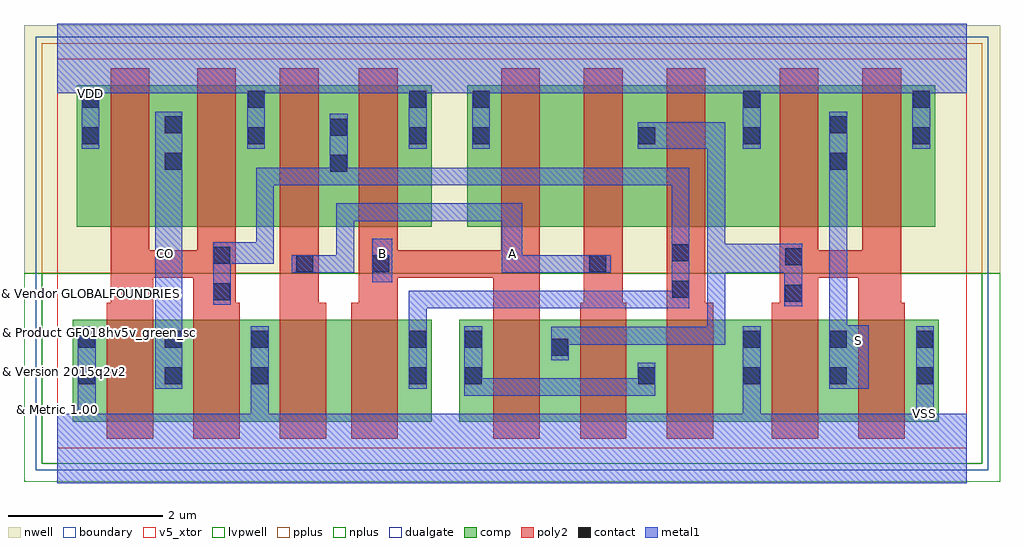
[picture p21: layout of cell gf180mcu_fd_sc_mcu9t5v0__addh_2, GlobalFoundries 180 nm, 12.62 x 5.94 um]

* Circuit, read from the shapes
.subckt gf180mcu_fd_sc_mcu9t5v0__addh_2 A B CO S VDD VSS
XM1 CO n1 VSS VSUBS nfet_05v0 w=1.32u l=0.6u m=2
XM2 n2 A VSS VSUBS nfet_05v0 w=1.32u l=0.6u
XM3 n1 B n2 VSUBS nfet_05v0 w=1.32u l=0.6u
XM4 n3 B n4 VSUBS nfet_05v0 w=1.32u l=0.6u
XM5 n4 A n3 VSUBS nfet_05v0 w=1.32u l=0.6u
XM6 VSS n1 n4 VSUBS nfet_05v0 w=1.32u l=0.6u
XM7 S n3 VSS VSUBS nfet_05v0 w=1.32u l=0.6u m=2
XM8 CO n1 VDD n5 pfet_05v0 w=1.83u l=0.5u m=2
XM9 n1 A VDD n5 pfet_05v0 w=1.83u l=0.5u
XM10 VDD B n1 n5 pfet_05v0 w=1.83u l=0.5u
XM11 n6 B VDD n5 pfet_05v0 w=1.83u l=0.5u
XM12 n3 A n6 n5 pfet_05v0 w=1.83u l=0.5u
XM13 VDD n1 n3 n5 pfet_05v0 w=1.83u l=0.5u
XM14 S n3 VDD n5 pfet_05v0 w=1.83u l=0.5u m=2
.ends

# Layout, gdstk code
import gdstk
lib = gdstk.Library(unit=1e-6, precision=1e-09)
def R(c, l, rs):  # rectangles x0, y0, x1, y1
    for r in rs: c.add(gdstk.rectangle(r[:2], r[2:], *l))
def A(c, l, x, y, w, h, nx, ny, dx, dy):  # array of equal rectangles
    R(c, l, [(x+i*dx, y+j*dy, x+i*dx+w, y+j*dy+h) for i in range(nx) for j in range(ny)])
def P(c, l, *ps):  # polygons
    for p in ps: c.add(gdstk.Polygon(p, *l))
boundary = (0, 0)
nwell = (21, 0)
comp = (22, 0)
poly2 = (30, 0)
pplus = (31, 0)
nplus = (32, 0)
contact = (33, 0)
metal1 = (34, 0)
dualgate = (55, 0)
v5_xtor = (112, 1)
lvpwell = (204, 0)

gf180mcu_fd_sc_mcu9t5v0_ = lib.new_cell('gf180mcu_fd_sc_mcu9t5v0__addh_2')
R(gf180mcu_fd_sc_mcu9t5v0_, boundary, [(0,0,11.76,5.04)])
R(gf180mcu_fd_sc_mcu9t5v0_, nwell, [(-0.43,2.265,12.19,5.47)])
R(gf180mcu_fd_sc_mcu9t5v0_, comp, [(0.2,0.345,4.84,1.665), (5.2,0.345,11.4,1.665), (0.25,2.865,4.84,4.695), (5.3,2.865,11.35,4.695)])
P(gf180mcu_fd_sc_mcu9t5v0_, poly2, [(0.64,0.125),(0.64,1.885),(0.69,1.885),(0.69,4.915),(1.19,4.915),(1.19,2.565),(1.81,2.565),(1.81,4.915),(2.31,4.915),(2.31,1.885),(2.36,1.885),(2.36,0.125),(1.76,0.125),(1.76,2.205),(1.24,2.205),(1.24,0.125)],
  [(2.88,0.125),(2.88,4.915),(3.38,4.915),(3.38,1.885),(3.48,1.885),(3.48,0.125)],
  [(3.8,0.125),(3.8,1.885),(3.9,1.885),(3.9,4.915),(4.4,4.915),(4.4,2.565),(5.74,2.565),(5.74,4.915),(6.24,4.915),(6.24,0.125),(5.64,0.125),(5.64,2.205),(4.4,2.205),(4.4,0.125)],
  [(6.76,0.125),(6.76,1.885),(6.81,1.885),(6.81,4.915),(7.31,4.915),(7.31,1.885),(7.36,1.885),(7.36,0.125)],
  [(7.88,0.125),(7.88,4.915),(8.38,4.915),(8.38,1.885),(8.48,1.885),(8.48,0.125)],
  [(9.24,0.125),(9.24,1.885),(9.34,1.885),(9.34,4.915),(9.84,4.915),(9.84,2.565),(10.41,2.565),(10.41,4.915),(10.91,4.915),(10.91,1.885),(10.96,1.885),(10.96,0.125),(10.36,0.125),(10.36,2.205),(9.84,2.205),(9.84,0.125)])
R(gf180mcu_fd_sc_mcu9t5v0_, pplus, [(-0.2,2.265,11.96,5.24)])
R(gf180mcu_fd_sc_mcu9t5v0_, nplus, [(-0.2,-0.2,11.96,2.265)])
A(gf180mcu_fd_sc_mcu9t5v0_, contact, 0.27, 0.83, 0.22, 0.22, 3, 2, 1.12, 0.47)
A(gf180mcu_fd_sc_mcu9t5v0_, contact, 8.87, 0.83, 0.22, 0.22, 3, 2, 1.12, 0.47)
R(gf180mcu_fd_sc_mcu9t5v0_, contact, [(4.55,0.83,4.77,1.05), (5.27,0.83,5.49,1.05), (7.51,0.83,7.73,1.05), (6.39,1.2,6.61,1.42), (4.55,1.3,4.77,1.52), (5.27,1.3,5.49,1.52), (9.41,1.895,9.63,2.115), (2.02,1.915,2.24,2.135), (7.95,1.95,8.17,2.17), (3.09,2.275,3.31,2.495), (4.075,2.275,4.295,2.495), (6.88,2.275,7.1,2.495), (9.41,2.365,9.63,2.585), (2.02,2.385,2.24,2.605), (7.95,2.42,8.17,2.64), (3.53,3.575,3.75,3.795), (1.39,3.605,1.61,3.825), (9.99,3.605,10.21,3.825), (0.32,3.935,0.54,4.155), (2.46,3.935,2.68,4.155), (4.55,3.935,4.77,4.155), (5.37,3.935,5.59,4.155), (7.51,3.935,7.73,4.155), (8.87,3.935,9.09,4.155), (11.06,3.935,11.28,4.155), (3.53,4.045,3.75,4.265), (1.39,4.075,1.61,4.295), (9.99,4.075,10.21,4.295), (0.32,4.405,0.54,4.625), (2.46,4.405,2.68,4.625), (4.55,4.405,4.77,4.625), (5.37,4.405,5.59,4.625), (8.87,4.405,9.09,4.625), (11.06,4.405,11.28,4.625)])
R(gf180mcu_fd_sc_mcu9t5v0_, metal1, [(1.27,0.77,1.615,4.355), (4.07,2.15,4.33,2.71)])
P(gf180mcu_fd_sc_mcu9t5v0_, metal1, [(3.03,2.27),(3.03,2.5),(3.61,2.5),(3.61,3.17),(6.01,3.17),(6.01,2.5),(7.16,2.5),(7.16,2.27),(5.75,2.27),(5.75,2.94),(3.84,2.94),(3.84,2.27)],
  [(5.265,0.68),(5.265,1.58),(5.495,1.58),(5.495,0.91),(7.505,0.91),(7.505,1.11),(7.735,1.11),(7.735,0.68)],
  [(4.545,0.77),(4.545,2.04),(7.945,2.04),(7.945,3.4),(2.8,3.4),(2.8,2.385),(2.245,2.385),(2.245,1.855),(2.015,1.855),(2.015,2.665),(2.57,2.665),(2.57,3.63),(3.525,3.63),(3.525,4.325),(3.755,4.325),(3.755,3.63),(8.175,3.63),(8.175,1.81),(4.775,1.81),(4.775,0.77)],
  [(6.385,1.14),(6.385,1.57),(8.405,1.57),(8.405,3.875),(7.505,3.875),(7.505,4.215),(8.635,4.215),(8.635,2.645),(9.635,2.645),(9.635,1.835),(9.4,1.835),(9.4,2.27),(8.635,2.27),(8.635,1.34),(6.615,1.34),(6.615,1.14)],
  [(9.985,0.77),(9.985,4.355),(10.215,4.355),(10.215,1.59),(10.49,1.59),(10.49,0.77)],
  [(0,-0.45),(0,0.45),(0.265,0.45),(0.265,1.58),(0.495,1.58),(0.495,0.45),(2.505,0.45),(2.505,1.58),(2.735,1.58),(2.735,0.45),(8.865,0.45),(8.865,1.58),(9.095,1.58),(9.095,0.45),(11.105,0.45),(11.105,1.58),(11.335,1.58),(11.335,0.45),(11.76,0.45),(11.76,-0.45)],
  [(0.315,3.875),(0.315,4.59),(0,4.59),(0,5.49),(11.76,5.49),(11.76,4.59),(11.285,4.59),(11.285,3.875),(11.055,3.875),(11.055,4.59),(9.095,4.59),(9.095,3.875),(8.865,3.875),(8.865,4.59),(5.595,4.59),(5.595,3.875),(5.365,3.875),(5.365,4.59),(4.775,4.59),(4.775,3.875),(4.545,3.875),(4.545,4.59),(2.685,4.59),(2.685,3.875),(2.455,3.875),(2.455,4.59),(0.545,4.59),(0.545,3.875)])
R(gf180mcu_fd_sc_mcu9t5v0_, dualgate, [(-0.28,-0.28,12.04,5.32)])
R(gf180mcu_fd_sc_mcu9t5v0_, v5_xtor, [(0,0,11.76,5.04)])
R(gf180mcu_fd_sc_mcu9t5v0_, lvpwell, [(-0.43,-0.43,12.19,2.265)])
gf180mcu_fd_sc_mcu9t5v0_.add(gdstk.Label('A', (5.88,2.52), layer=34, texttype=10))
gf180mcu_fd_sc_mcu9t5v0_.add(gdstk.Label('B', (4.2,2.52), layer=34, texttype=10))
gf180mcu_fd_sc_mcu9t5v0_.add(gdstk.Label('CO', (1.4,2.52), layer=34, texttype=10))
gf180mcu_fd_sc_mcu9t5v0_.add(gdstk.Label('S', (10.36,1.4), layer=34, texttype=10))
gf180mcu_fd_sc_mcu9t5v0_.add(gdstk.Label('VDD', (0.43,4.59), layer=34, texttype=10))
gf180mcu_fd_sc_mcu9t5v0_.add(gdstk.Label('VSS', (11.22,0.45), layer=34, texttype=10))
gf180mcu_fd_sc_mcu9t5v0_.add(gdstk.Label('& Vendor GLOBALFOUNDRIES', (0,2), layer=63, texttype=63))
gf180mcu_fd_sc_mcu9t5v0_.add(gdstk.Label('& Product GF018hv5v_green_sc9', (0,1.5), layer=63, texttype=63))
gf180mcu_fd_sc_mcu9t5v0_.add(gdstk.Label('& Version 2015q2v2', (0,1), layer=63, texttype=63))
gf180mcu_fd_sc_mcu9t5v0_.add(gdstk.Label('& Metric 1.00', (0,0.5), layer=63, texttype=63))

lib.write_gds('gf180mcu_fd_sc_mcu9t5v0__addh_2.gds')
